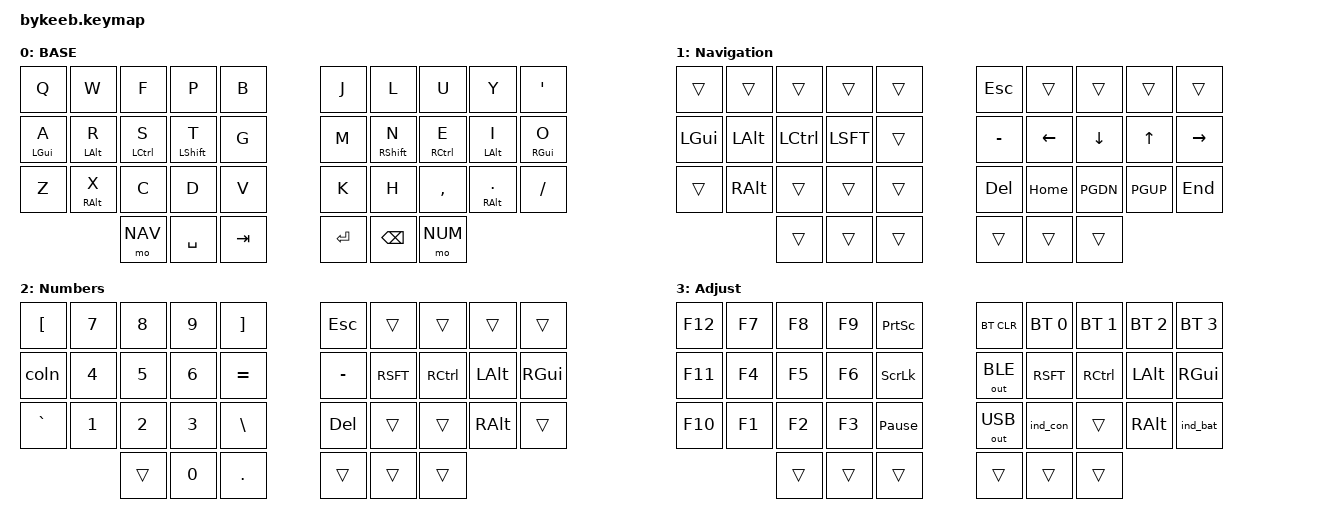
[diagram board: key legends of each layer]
/*
 * Copyright (c) 2020 The ZMK Contributors
 *
 * SPDX-License-Identifier: MIT
 */

#include <behaviors.dtsi>
#include <dt-bindings/zmk/keys.h>
#include <dt-bindings/zmk/bt.h>
#include <dt-bindings/zmk/ext_power.h>
#include <dt-bindings/zmk/outputs.h>
#include <dt-bindings/zmk/mouse.h>
#include <behaviors/mouse_keys.dtsi>
#include <behaviors/rgbled_widget.dtsi>
 
#define BASE 0
#define NAV  1
#define NUM  2
#define ADJ  3

#define LSPO &hm LSHFT LS(N9)
#define RSPC &hm RSHFT RS(N0)

&caps_word {
    continue-list = <UNDERSCORE MINUS BACKSPACE DELETE>;
};

&mt {
  quick-tap-ms = <100>;
  global-quick-tap;
  flavor = "tap-preferred";
  tapping-term-ms = <170>;
};

/ {
    combos {
        compatible = "zmk,combos";
        combo_bootloader {
            timeout-ms = <50>;
            key-positions = <0 9>;
            bindings = <&bootloader>;

        };
        combo_lbrc {
            timeout-ms = <50>;
            key-positions = <14 24>;
            bindings = <&kp LS(LBKT)>;
        };
        combo_rbrc {
            timeout-ms = <50>;
            key-positions = <15 25>;
            bindings = <&kp RS(RBKT)>;
        };
        combo_lbkt {
            timeout-ms = <50>;
            key-positions = <4 14>;
            bindings = <&kp LBKT>;
        };
        combo_rbkt {
            timeout-ms = <50>;
            key-positions = <5 15>;
            bindings = <&kp RBKT>;
        };
        combo_capsword {
            timeout-ms = <50>;
            key-positions = <14 15>;
            bindings = <&caps_word>;
        };
        combo_lpar {
            timeout-ms = <50>;
            key-positions = <13 14>;
            bindings = <&kp LS(N9)>;
        };
        combo_rpar {
            timeout-ms = <50>;
            key-positions = <15 16>;
            bindings = <&kp RS(N0)>;
        };
    };

    behaviors {
        hm: homerow_mods {
            compatible = "zmk,behavior-hold-tap";
            label = "HOMEROW_MODS";
            #binding-cells = <2>;
            tapping-term-ms = <250>;
            quick_tap_ms = <0>;
            flavor = "balanced";
            bindings = <&kp>, <&kp>;
        };
        hs: homerow_shift {
            compatible = "zmk,behavior-hold-tap";
            label = "HOMEROW_SHIFT";
            #binding-cells = <2>;
            tapping-term-ms = <175>;
            quick_tap_ms = <0>;
            flavor = "balanced";
            bindings = <&kp>, <&kp>;
        };
        coln: inverted_colon {
            compatible = "zmk,behavior-mod-morph";
            label = "COLON";
            #binding-cells = <0>;
            bindings = <&kp LS(SCLN)>, <&kp SCLN>;
            mods = <(MOD_LSFT|MOD_RSFT)>;
        };
    };

    conditional_layers {
        compatible = "zmk,conditional-layers";
        tri_layer {
            if-layers = <NAV NUM>;
            then-layer = <ADJ>;
        };
    };
 
        keymap {
                compatible = "zmk,keymap";
                base_layer {
label= "BASE"                              ;
 bindings = <
// ╷           ╷           ╷           ╷           ╷           ╷           ╷   ╷           ╷           ╷           ╷           ╷           ╷           ╷

                &kp Q       &kp W       &kp F       &kp P       &kp B           &kp J       &kp L       &kp U       &kp Y       &kp SQT
                &hm LGUI A  &hm LALT R  &hm LCTRL S &hs LSHFT T &kp G           &kp M       &hs RSHFT N &hm RCTRL E &hm LALT I  &hm RGUI O
    &kp Z       &hm RALT X  &kp C       &kp D       &kp V           &kp K       &kp H       &kp COMMA   &hm RALT DOT &kp FSLH    
                                          &mo NAV       &kp SPC  &kp TAB  &kp ENTER   &kp BSPC &mo NUM
                        >;
                };

        nav_layer {
            label = "Navigation";
            
            bindings = <
    &trans       &trans       &trans      &trans        &trans                                 &kp ESC       &trans       &trans        &trans      &trans
    &kp LGUI     &kp LALT     &kp LCTL    &kp LSFT      &trans                                 &kp MINUS     &kp LEFT     &kp DOWN      &kp UP      &kp RIGHT
    &trans       &kp RALT     &trans      &trans        &trans                                 &kp DEL       &kp HOME     &kp PGDN      &kp PGUP    &kp END
                                          &trans        &trans       &trans        &trans      &trans        &trans
            >;
        };

        num_layer {
            label = "Numbers";
            
            bindings = <
    &kp LBKT     &kp N7       &kp N8      &kp N9        &kp RBKT                                    &kp ESC       &trans       &trans        &trans      &trans
    &coln        &kp N4       &kp N5      &kp N6        &kp EQL                                     &kp MINUS     &kp RSFT     &kp RCTL      &kp LALT    &kp RGUI
    &kp GRAVE    &kp N1       &kp N2      &kp N3        &kp BSLH                                    &kp DEL       &trans       &trans        &kp RALT    &trans
                                          &trans        &kp N0       &kp DOT       &trans           &trans        &trans
            >;
        };

        adj_layer {
            label = "Adjust";
            
            bindings = <
    &kp F12      &kp F7       &kp F8      &kp F9        &kp PSCRN                                   &bt BT_CLR    &bt BT_SEL 0 &bt BT_SEL 1  &bt BT_SEL 2 &bt BT_SEL 3
    &kp F11      &kp F4       &kp F5      &kp F6        &kp SLCK                                    &out OUT_BLE  &kp RSFT     &kp RCTL      &kp LALT    &kp RGUI
    &kp F10      &kp F1       &kp F2      &kp F3        &kp PAUSE_BREAK                             &out OUT_USB  &ind_con       &trans        &kp RALT    &ind_bat
                                          &trans        &trans       &trans        &trans           &trans        &trans
            >;
        };
        };
};
